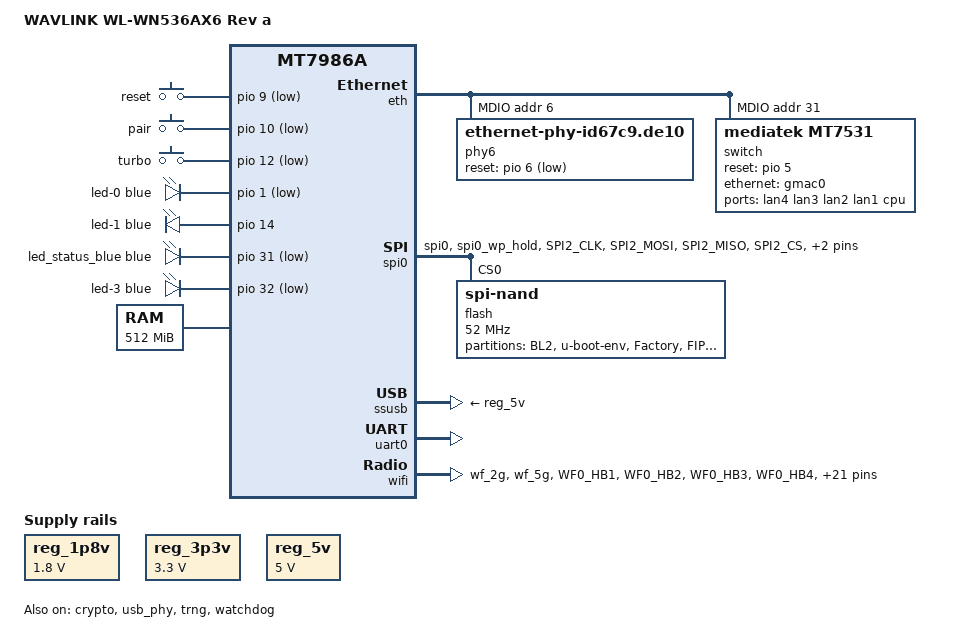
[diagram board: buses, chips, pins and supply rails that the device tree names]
// SPDX-License-Identifier: (GPL-2.0 OR MIT)

/dts-v1/;
#include <dt-bindings/gpio/gpio.h>
#include <dt-bindings/input/input.h>
#include <dt-bindings/leds/common.h>
#include <dt-bindings/pinctrl/mt65xx.h>

#include "mt7986a.dtsi"

/ {
	compatible = "wavlink,wl-wn536ax6-a", "mediatek,mt7986a";
	model = "WAVLINK WL-WN536AX6 Rev a";

	aliases {
		serial0 = &uart0;
		label-mac-device = &wifi;
		led-boot = &led_status_blue;
		led-failsafe = &led_status_blue;
		led-running = &led_status_blue;
		led-upgrade = &led_status_blue;
	};

	chosen {
		stdout-path = "serial0:115200n8";
	};

	gpio-keys {
		compatible = "gpio-keys";

		reset {
			label = "reset";
			linux,code = <KEY_RESTART>;
			gpios = <&pio 9 GPIO_ACTIVE_LOW>;
		};

		pair {
			label = "pair";
			linux,code = <KEY_WPS_BUTTON>;
			gpios = <&pio 10 GPIO_ACTIVE_LOW>;
		};

		turbo {
			label = "turbo";
			linux,code = <BTN_MISC>;
			gpios = <&pio 12 GPIO_ACTIVE_LOW>;
		};
	};

	leds {
		compatible = "gpio-leds";

		led-0 {
			color = <LED_COLOR_ID_BLUE>;
			function = LED_FUNCTION_WAN;
			gpios = <&pio 1 GPIO_ACTIVE_LOW>;
		};

		led-1 {
			color = <LED_COLOR_ID_BLUE>;
			function = LED_FUNCTION_POWER;
			gpios = <&pio 14 GPIO_ACTIVE_HIGH>;
		};

		led_status_blue: led-2 {
			color = <LED_COLOR_ID_BLUE>;
			function = LED_FUNCTION_STATUS;
			gpios = <&pio 31 GPIO_ACTIVE_LOW>;
		};

		led-3 {
			color = <LED_COLOR_ID_BLUE>;
			function = LED_FUNCTION_WLAN;
			gpios = <&pio 32 GPIO_ACTIVE_LOW>;
			linux,default-trigger = "phy1tpt";
		};
	};

	memory@40000000 {
		reg = <0 0x40000000 0 0x20000000>;
		device_type = "memory";
	};

	reg_1p8v: regulator-1p8v {
		compatible = "regulator-fixed";
		regulator-name = "fixed-1.8V";
		regulator-min-microvolt = <1800000>;
		regulator-max-microvolt = <1800000>;
		regulator-boot-on;
		regulator-always-on;
	};

	reg_3p3v: regulator-3p3v {
		compatible = "regulator-fixed";
		regulator-name = "fixed-3.3V";
		regulator-min-microvolt = <3300000>;
		regulator-max-microvolt = <3300000>;
		regulator-boot-on;
		regulator-always-on;
	};

	reg_5v: regulator-5v {
		compatible = "regulator-fixed";
		regulator-name = "fixed-5V";
		regulator-min-microvolt = <5000000>;
		regulator-max-microvolt = <5000000>;
		regulator-boot-on;
		regulator-always-on;
	};
};

&crypto {
	status = "okay";
};

&eth {
	status = "okay";

	/* LAN */
	gmac0: mac@0 {
		compatible = "mediatek,eth-mac";
		reg = <0>;
		phy-mode = "2500base-x";

		nvmem-cell-names = "mac-address";
		nvmem-cells = <&macaddr_hw_44e 0>;

		fixed-link {
			full-duplex;
			pause;
			speed = <2500>;
		};
	};

	/* WAN */
	gmac1: mac@1 {
		compatible = "mediatek,eth-mac";
		reg = <1>;
		phy-mode = "2500base-x";
		phy-handle = <&phy6>;

		nvmem-cell-names = "mac-address";
		nvmem-cells = <&macaddr_hw_44e 1>;
	};

	mdio-bus {
		#address-cells = <1>;
		#size-cells = <0>;

		/* MaxLinear GPY211C 2.5G PHY */
		phy6: phy@6 {
			/*
			 * Force the ID here as the PHY only reports it's
			 * (C45) ID correctly after a reset (before resetting
			 * it reports 0xfffffff, which causes only the genphy
			 * driver to match).
			 */
			compatible = "ethernet-phy-id67c9.de10";
			reg = <6>;
			reset-gpios = <&pio 6 GPIO_ACTIVE_LOW>;
			reset-assert-us = <600>;
			reset-deassert-us = <20000>;
			phy-mode = "2500base-x";
		};

		switch@1f {
			compatible = "mediatek,mt7531";
			reg = <31>;
			reset-gpios = <&pio 5 GPIO_ACTIVE_HIGH>;

			ports {
				#address-cells = <1>;
				#size-cells = <0>;

				port@0 {
					reg = <0>;
					label = "lan4";
				};

				port@1 {
					reg = <1>;
					label = "lan3";
				};

				port@2 {
					reg = <2>;
					label = "lan2";
				};

				port@3 {
					reg = <3>;
					label = "lan1";
				};

				port@6 {
					reg = <6>;
					label = "cpu";
					ethernet = <&gmac0>;
					phy-mode = "2500base-x";

					fixed-link {
						speed = <2500>;
						full-duplex;
						pause;
					};
				};
			};
		};
	};
};

&pio {
	spi_flash_pins: spi-flash-pins-33-to-38 {
		mux {
			function = "spi";
			groups = "spi0", "spi0_wp_hold";
		};

		conf-pd {
			pins = "SPI2_CLK", "SPI2_MOSI", "SPI2_MISO";
			bias-pull-down = <MTK_PUPD_SET_R1R0_11>;
			drive-strength = <MTK_DRIVE_8mA>;
		};

		conf-pu {
			pins = "SPI2_CS", "SPI2_HOLD", "SPI2_WP";
			bias-pull-down = <MTK_PUPD_SET_R1R0_11>;
			drive-strength = <MTK_DRIVE_8mA>;
		};
	};

	wf_2g_5g_pins: wf_2g_5g-pins {
		mux {
			function = "wifi";
			groups = "wf_2g", "wf_5g";
		};

		conf {
			pins = "WF0_HB1", "WF0_HB2", "WF0_HB3", "WF0_HB4",
					"WF0_HB0", "WF0_HB0_B", "WF0_HB5", "WF0_HB6",
					"WF0_HB7", "WF0_HB8", "WF0_HB9", "WF0_HB10",
					"WF0_TOP_CLK", "WF0_TOP_DATA", "WF1_HB1",
					"WF1_HB2", "WF1_HB3", "WF1_HB4", "WF1_HB0",
					"WF1_HB5", "WF1_HB6", "WF1_HB7", "WF1_HB8",
					"WF1_TOP_CLK", "WF1_TOP_DATA";
			drive-strength = <MTK_DRIVE_4mA>;
		};
	};

	wf_dbdc_pins: wf_dbdc-pins {
		mux {
			function = "wifi";
			groups = "wf_dbdc";
		};

		conf {
			pins = "WF0_HB1", "WF0_HB2", "WF0_HB3", "WF0_HB4",
			       "WF0_HB0", "WF0_HB0_B", "WF0_HB5", "WF0_HB6",
			       "WF0_HB7", "WF0_HB8", "WF0_HB9", "WF0_HB10",
			       "WF0_TOP_CLK", "WF0_TOP_DATA", "WF1_HB1",
			       "WF1_HB2", "WF1_HB3", "WF1_HB4", "WF1_HB0",
			       "WF1_HB5", "WF1_HB6", "WF1_HB7", "WF1_HB8",
			       "WF1_TOP_CLK", "WF1_TOP_DATA";
			drive-strength = <MTK_DRIVE_4mA>;
		};
	};
};

&spi0 {
	pinctrl-names = "default";
	pinctrl-0 = <&spi_flash_pins>;
	status = "okay";

	/* Macronix SPI NAND (128M) */
	flash@0 {
		compatible = "spi-nand";
		#address-cells = <1>;
		#size-cells = <1>;
		reg = <0>;

		spi-max-frequency = <52000000>;
		spi-tx-bus-width = <4>;
		spi-rx-bus-width = <4>;

		spi-cal-enable;
		spi-cal-mode = "read-data";
		spi-cal-datalen = <7>;
		spi-cal-data = /bits/ 8 <0x53 0x50 0x49 0x4e 0x41 0x4e 0x44>;
		spi-cal-addrlen = <5>;
		spi-cal-addr = /bits/ 32 <0x0 0x0 0x0 0x0 0x0>;

		partitions {
			compatible = "fixed-partitions";
			#address-cells = <1>;
			#size-cells = <1>;

			partition@0 {
				label = "BL2";
				reg = <0x0 0x100000>;
				read-only;
			};

			partition@100000 {
				label = "u-boot-env";
				reg = <0x100000 0x80000>;
			};

			partition@180000 {
				label = "Factory";
				reg = <0x180000 0x200000>;
				read-only;

				nvmem-layout {
					compatible = "fixed-layout";
					#address-cells = <1>;
					#size-cells = <1>;

					eeprom_factory_0: eeprom@0 {
						reg = <0x0 0x1000>;
					};
				};
			};

			partition@380000 {
				label = "FIP";
				reg = <0x380000 0x200000>;
				read-only;
			};

			partition@580000 {
				label = "ubi";
				reg = <0x580000 0x4000000>;
			};

			partition@7580000 {
				label = "HW";
				reg = <0x4580000 0x80000>;
				read-only;

				nvmem-layout {
					compatible = "fixed-layout";
					#address-cells = <1>;
					#size-cells = <1>;

					macaddr_hw_44e: macaddr@44e {
						compatible = "mac-base";
						reg = <0x44e 0x11>;
						#nvmem-cell-cells = <1>;
					};
				};
			};
		};
	};
};

&ssusb {
	status = "okay";
	vusb33-supply = <&reg_3p3v>;
	vbus-supply = <&reg_5v>;
};

&uart0 {
	status = "okay";
};

&usb_phy {
	status = "okay";
};

&trng {
	status = "okay";
};

&watchdog {
	status = "okay";
};

&wifi {
	nvmem-cells = <&eeprom_factory_0>;
	nvmem-cell-names = "eeprom";
	pinctrl-names = "default", "dbdc";
	pinctrl-0 = <&wf_2g_5g_pins>;
	pinctrl-1 = <&wf_dbdc_pins>;
	status = "okay";
};
